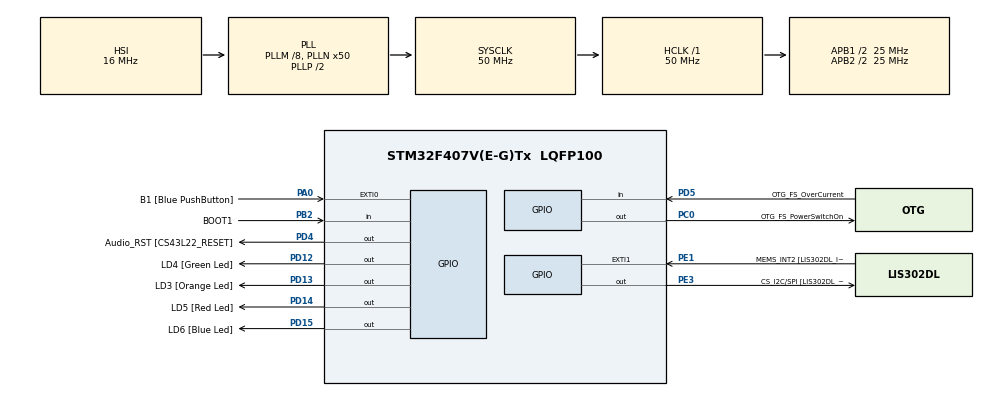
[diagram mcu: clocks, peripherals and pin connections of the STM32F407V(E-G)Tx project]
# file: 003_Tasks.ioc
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Mcu.Family=STM32F4
Mcu.Name=STM32F407V(E-G)Tx
Mcu.Package=LQFP100
NVIC.PriorityGroup=NVIC_PRIORITYGROUP_4
NVIC.TIM6_DAC_IRQn=true\:15\:0\:false\:false\:true\:false\:true\:true
NVIC.TimeBase=TIM6_DAC_IRQn
NVIC.TimeBaseIP=TIM6
PA0-WKUP.GPIO_Label=B1 [Blue PushButton]
PA0-WKUP.Signal=GPXTI0
PA10.GPIO_Label=OTG_FS_ID
PA10.GPIO_Mode=GPIO_MODE_AF_PP
PA10.GPIO_PuPd=GPIO_NOPULL
PA10.GPIO_Speed=GPIO_SPEED_FREQ_LOW
PA10.Signal=USB_OTG_FS_ID
PA11.GPIO_Label=OTG_FS_DM
PA11.GPIO_Mode=GPIO_MODE_AF_PP
PA11.GPIO_PuPd=GPIO_NOPULL
PA11.GPIO_Speed=GPIO_SPEED_FREQ_LOW
PA11.Signal=USB_OTG_FS_DM
PA12.GPIO_Label=OTG_FS_DP
PA12.GPIO_Mode=GPIO_MODE_AF_PP
PA12.GPIO_PuPd=GPIO_NOPULL
PA12.GPIO_Speed=GPIO_SPEED_FREQ_LOW
PA12.Signal=USB_OTG_FS_DP
PA13.GPIO_Label=SWDIO
PA13.Mode=Trace_Asynchronous_SW
PA13.Signal=SYS_JTMS-SWDIO
PA14.GPIO_Label=SWCLK
PA14.Mode=Trace_Asynchronous_SW
PA14.Signal=SYS_JTCK-SWCLK
PA4.GPIO_Label=I2S3_WS [CS43L22_LRCK]
PA4.GPIO_Mode=GPIO_MODE_AF_PP
PA4.GPIO_PuPd=GPIO_NOPULL
PA4.GPIO_Speed=GPIO_SPEED_FREQ_LOW
PA4.Signal=I2S3_WS
PA5.GPIO_Label=SPI1_SCK [LIS302DL_SCL/SPC]
PA5.GPIO_Mode=GPIO_MODE_AF_PP
PA5.GPIO_PuPd=GPIO_NOPULL
PA5.GPIO_Speed=GPIO_SPEED_FREQ_LOW
PA5.Signal=SPI1_SCK
PA6.GPIO_Label=SPI1_MISO [LIS302DL_SDO]
PA6.GPIO_Mode=GPIO_MODE_AF_PP
PA6.GPIO_PuPd=GPIO_NOPULL
PA6.GPIO_Speed=GPIO_SPEED_FREQ_LOW
PA6.Signal=SPI1_MISO
PA7.GPIO_Label=SPI1_MOSI [LIS302DL_SDA/SDI/SDO]
PA7.GPIO_Mode=GPIO_MODE_AF_PP
PA7.GPIO_PuPd=GPIO_NOPULL
PA7.GPIO_Speed=GPIO_SPEED_FREQ_LOW
PA7.Signal=SPI1_MOSI
PA9.GPIO_Label=VBUS_FS
PA9.GPIO_Mode=GPIO_MODE_INPUT
PA9.GPIO_PuPd=GPIO_NOPULL
PA9.Signal=USB_OTG_FS_VBUS
PB10.GPIO_Label=CLK_IN [MP45DT02_CLK]
PB10.GPIO_Mode=GPIO_MODE_AF_PP
PB10.GPIO_PuPd=GPIO_NOPULL
PB10.GPIO_Speed=GPIO_SPEED_FREQ_LOW
PB10.Signal=I2S2_CK
PB2.GPIO_Label=BOOT1
PB2.GPIO_Mode=GPIO_MODE_INPUT
PB2.GPIO_PuPd=GPIO_NOPULL
PB2.Signal=GPIO_Input
PB3.GPIO_Label=SWO
PB3.Mode=Trace_Asynchronous_SW
PB3.Signal=SYS_JTDO-SWO
PB6.GPIO_Label=Audio_SCL [CS43L22_SCL]
PB6.GPIO_Mode=GPIO_MODE_AF_OD
PB6.GPIO_PuPd=GPIO_NOPULL
PB6.GPIO_Speed=GPIO_SPEED_FREQ_LOW
PB6.Signal=I2C1_SCL
PB9.GPIO_Label=Audio_SDA [CS43L22_SDA]
PB9.GPIO_Mode=GPIO_MODE_AF_OD
PB9.GPIO_PuPd=GPIO_NOPULL
PB9.GPIO_Speed=GPIO_SPEED_FREQ_LOW
PB9.Signal=I2C1_SDA
PC0.GPIO_Label=OTG_FS_PowerSwitchOn
PC0.GPIO_PuPd=GPIO_NOPULL
PC0.GPIO_Speed=GPIO_SPEED_FREQ_LOW
PC0.PinState=GPIO_PIN_SET
PC0.Signal=GPIO_Output
PC10.GPIO_Label=I2S3_SCK [CS43L22_SCLK]
PC10.GPIO_Mode=GPIO_MODE_AF_PP
PC10.GPIO_PuPd=GPIO_NOPULL
PC10.GPIO_Speed=GPIO_SPEED_FREQ_LOW
PC10.Signal=I2S3_CK
PC12.GPIO_Label=I2S3_SD [CS43L22_SDIN]
PC12.GPIO_Mode=GPIO_MODE_AF_PP
PC12.GPIO_PuPd=GPIO_NOPULL
PC12.GPIO_Speed=GPIO_SPEED_FREQ_LOW
PC12.Signal=I2S3_SD
PC14-OSC32_IN.GPIO_Label=PC14-OSC32_IN
PC14-OSC32_IN.Signal=RCC_OSC32_IN
PC15-OSC32_OUT.GPIO_Label=PC15-OSC32_OUT
PC15-OSC32_OUT.Signal=RCC_OSC32_OUT
PC3.GPIO_Label=PDM_OUT [MP45DT02_DOUT]
PC3.GPIO_Mode=GPIO_MODE_AF_PP
PC3.GPIO_PuPd=GPIO_NOPULL
PC3.GPIO_Speed=GPIO_SPEED_FREQ_LOW
PC3.Signal=I2S2_SD
PC7.GPIO_Label=I2S3_MCK [CS43L22_MCLK]
PC7.GPIO_Mode=GPIO_MODE_AF_PP
PC7.GPIO_PuPd=GPIO_NOPULL
PC7.GPIO_Speed=GPIO_SPEED_FREQ_LOW
PC7.Signal=I2S3_MCK
PD12.GPIO_Label=LD4 [Green Led]
PD12.GPIO_PuPd=GPIO_NOPULL
PD12.GPIO_Speed=GPIO_SPEED_FREQ_LOW
PD12.Signal=GPIO_Output
PD13.GPIO_Label=LD3 [Orange Led]
PD13.GPIO_PuPd=GPIO_NOPULL
PD13.GPIO_Speed=GPIO_SPEED_FREQ_LOW
PD13.Signal=GPIO_Output
PD14.GPIO_Label=LD5 [Red Led]
PD14.GPIO_PuPd=GPIO_NOPULL
PD14.GPIO_Speed=GPIO_SPEED_FREQ_LOW
PD14.Signal=GPIO_Output
PD15.GPIO_Label=LD6 [Blue Led]
PD15.GPIO_PuPd=GPIO_NOPULL
PD15.GPIO_Speed=GPIO_SPEED_FREQ_LOW
PD15.Signal=GPIO_Output
PD4.GPIO_Label=Audio_RST [CS43L22_RESET]
PD4.GPIO_PuPd=GPIO_NOPULL
PD4.GPIO_Speed=GPIO_SPEED_FREQ_LOW
PD4.Signal=GPIO_Output
PD5.GPIO_Label=OTG_FS_OverCurrent
PD5.GPIO_Mode=GPIO_MODE_INPUT
PD5.GPIO_PuPd=GPIO_NOPULL
PD5.Signal=GPIO_Input
PE1.GPIO_Label=MEMS_INT2 [LIS302DL_INT2]
PE1.GPIO_ModeDefaultEXTI=GPIO_MODE_EVT_RISING
PE1.GPIO_PuPd=GPIO_NOPULL
PE1.Signal=GPXTI1
PE3.GPIO_Label=CS_I2C/SPI [LIS302DL_CS_I2C/SPI]
PE3.GPIO_PuPd=GPIO_NOPULL
PE3.GPIO_Speed=GPIO_SPEED_FREQ_LOW
PE3.Signal=GPIO_Output
PH0-OSC_IN.GPIO_Label=PH0-OSC_IN
PH0-OSC_IN.Signal=RCC_OSC_IN
PH1-OSC_OUT.GPIO_Label=PH1-OSC_OUT
PH1-OSC_OUT.Signal=RCC_OSC_OUT
ProjectManager.HeapSize=0x200
ProjectManager.StackSize=0x400
ProjectManager.TargetToolchain=STM32CubeIDE
RCC.48MHZClocksFreq_Value=14285714.285714285
RCC.AHBFreq_Value=50000000
RCC.APB1CLKDivider=RCC_HCLK_DIV2
RCC.APB1Freq_Value=25000000
RCC.APB1TimFreq_Value=50000000
RCC.APB2CLKDivider=RCC_HCLK_DIV2
RCC.APB2Freq_Value=25000000
RCC.APB2TimFreq_Value=50000000
RCC.CortexFreq_Value=6250000
RCC.Cortex_Div=SYSTICK_CLKSOURCE_HCLK_DIV8
RCC.HCLKFreq_Value=50000000
RCC.HSE_VALUE=8000000
RCC.HSI_VALUE=16000000
RCC.LSE_VALUE=32768
RCC.PLLM=8
RCC.PLLN=50
RCC.PLLQ=7
RCC.SYSCLKFreq_VALUE=50000000
RCC.SYSCLKSource=RCC_SYSCLKSOURCE_PLLCLK
RCC.VCOOutputFreq_Value=100000000
VP_SYS_VS_tim6.Mode=TIM6
board=STM32F407G-DISC1

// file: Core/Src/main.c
/* USER CODE BEGIN Header */
/**
  ******************************************************************************
  * @file           : main.c
  * @brief          : Main program body
  ******************************************************************************
  * @attention
  *
  * Copyright (c) 2024 STMicroelectronics.
  * All rights reserved.
  *
  * This software is licensed under terms that can be found in the LICENSE file
  * in the root directory of this software component.
  * If no LICENSE file comes with this software, it is provided AS-IS.
  *
  ******************************************************************************
  */
/* USER CODE END Header */
#include "main.h"

/* USER CODE BEGIN Includes */
#include <stdio.h>
#include "FreeRTOS.h"
#include "task.h"

/* USER CODE END Includes */

/* USER CODE BEGIN PD */
#define DWT_CTRL (*(volatile uint32_t *) 0xE0001000)
/* USER CODE END PD */

/* USER CODE BEGIN PV */
TaskHandle_t task1_handle;
TaskHandle_t task2_handle;
TaskHandle_t task3_handle;

BaseType_t status;
/* USER CODE END PV */

void SystemClock_Config(void);
static void MX_GPIO_Init(void);
/* USER CODE BEGIN PFP */
static void Task1_Handler(void*);
static void Task2_Handler(void*);
static void Task3_Handler(void*);

/* USER CODE END PFP */

int main(void)
{

  /* MCU Configuration--------------------------------------------------------*/

  /* Reset of all peripherals, Initializes the Flash interface and the Systick. */
  HAL_Init();

  /* Configure the system clock */
  SystemClock_Config();

  /* Initialize all configured peripherals */
  MX_GPIO_Init();
  /* USER CODE BEGIN 2 */

  //enable the cycle counter (CYCCNT register)
  DWT_CTRL |= (1<<0);

SEGGER_SYSVIEW_Conf();
SEGGER_SYSVIEW_Start();

status = xTaskCreate(Task1_Handler, "Task_1_orange", 200, NULL, 2, &task1_handle);
configASSERT(status == pdPASS);

status = xTaskCreate(Task2_Handler, "Task_2_green", 200,  NULL, 2, &task2_handle);
configASSERT(status == pdPASS);

status = xTaskCreate(Task3_Handler, "Task_3_red", 200, NULL, 2, &task3_handle);
configASSERT(status == pdPASS);

vTaskStartScheduler(); //if the scheduler fails, this function will return.
  /* USER CODE END 2 */

  /* Infinite loop */
  while (1)
  {

  }
}

void SystemClock_Config(void)
{
  RCC_OscInitTypeDef RCC_OscInitStruct = {0};
  RCC_ClkInitTypeDef RCC_ClkInitStruct = {0};

  /** Configure the main internal regulator output voltage
  */
  __HAL_RCC_PWR_CLK_ENABLE();
  __HAL_PWR_VOLTAGESCALING_CONFIG(PWR_REGULATOR_VOLTAGE_SCALE1);

  /** Initializes the RCC Oscillators according to the specified parameters
  * in the RCC_OscInitTypeDef structure.
  */
  RCC_OscInitStruct.OscillatorType = RCC_OSCILLATORTYPE_HSI;
  RCC_OscInitStruct.HSIState = RCC_HSI_ON;
  RCC_OscInitStruct.HSICalibrationValue = RCC_HSICALIBRATION_DEFAULT;
  RCC_OscInitStruct.PLL.PLLState = RCC_PLL_ON;
  RCC_OscInitStruct.PLL.PLLSource = RCC_PLLSOURCE_HSI;
  RCC_OscInitStruct.PLL.PLLM = 8;
  RCC_OscInitStruct.PLL.PLLN = 50;
  RCC_OscInitStruct.PLL.PLLP = RCC_PLLP_DIV2;
  RCC_OscInitStruct.PLL.PLLQ = 7;
  if (HAL_RCC_OscConfig(&RCC_OscInitStruct) != HAL_OK)
  {
    Error_Handler();
  }

  /** Initializes the CPU, AHB and APB buses clocks
  */
  RCC_ClkInitStruct.ClockType = RCC_CLOCKTYPE_HCLK|RCC_CLOCKTYPE_SYSCLK
                              |RCC_CLOCKTYPE_PCLK1|RCC_CLOCKTYPE_PCLK2;
  RCC_ClkInitStruct.SYSCLKSource = RCC_SYSCLKSOURCE_PLLCLK;
  RCC_ClkInitStruct.AHBCLKDivider = RCC_SYSCLK_DIV1;
  RCC_ClkInitStruct.APB1CLKDivider = RCC_HCLK_DIV2;
  RCC_ClkInitStruct.APB2CLKDivider = RCC_HCLK_DIV2;

  if (HAL_RCC_ClockConfig(&RCC_ClkInitStruct, FLASH_LATENCY_1) != HAL_OK)
  {
    Error_Handler();
  }
}

static void MX_GPIO_Init(void)
{
  GPIO_InitTypeDef GPIO_InitStruct = {0};

  /* GPIO Ports Clock Enable */
  __HAL_RCC_GPIOE_CLK_ENABLE();
  __HAL_RCC_GPIOC_CLK_ENABLE();
  __HAL_RCC_GPIOH_CLK_ENABLE();
  __HAL_RCC_GPIOA_CLK_ENABLE();
  __HAL_RCC_GPIOB_CLK_ENABLE();
  __HAL_RCC_GPIOD_CLK_ENABLE();

  /*Configure GPIO pin Output Level */
  HAL_GPIO_WritePin(CS_I2C_SPI_GPIO_Port, CS_I2C_SPI_Pin, GPIO_PIN_RESET);

  /*Configure GPIO pin Output Level */
  HAL_GPIO_WritePin(OTG_FS_PowerSwitchOn_GPIO_Port, OTG_FS_PowerSwitchOn_Pin, GPIO_PIN_SET);

  /*Configure GPIO pin Output Level */
  HAL_GPIO_WritePin(GPIOD, LD4_Pin|LD3_Pin|LD5_Pin|LD6_Pin
                          |Audio_RST_Pin, GPIO_PIN_RESET);

  /*Configure GPIO pin : CS_I2C_SPI_Pin */
  GPIO_InitStruct.Pin = CS_I2C_SPI_Pin;
  GPIO_InitStruct.Mode = GPIO_MODE_OUTPUT_PP;
  GPIO_InitStruct.Pull = GPIO_NOPULL;
  GPIO_InitStruct.Speed = GPIO_SPEED_FREQ_LOW;
  HAL_GPIO_Init(CS_I2C_SPI_GPIO_Port, &GPIO_InitStruct);

  /*Configure GPIO pin : OTG_FS_PowerSwitchOn_Pin */
  GPIO_InitStruct.Pin = OTG_FS_PowerSwitchOn_Pin;
  GPIO_InitStruct.Mode = GPIO_MODE_OUTPUT_PP;
  GPIO_InitStruct.Pull = GPIO_NOPULL;
  GPIO_InitStruct.Speed = GPIO_SPEED_FREQ_LOW;
  HAL_GPIO_Init(OTG_FS_PowerSwitchOn_GPIO_Port, &GPIO_InitStruct);

  /*Configure GPIO pin : PDM_OUT_Pin */
  GPIO_InitStruct.Pin = PDM_OUT_Pin;
  GPIO_InitStruct.Mode = GPIO_MODE_AF_PP;
  GPIO_InitStruct.Pull = GPIO_NOPULL;
  GPIO_InitStruct.Speed = GPIO_SPEED_FREQ_LOW;
  GPIO_InitStruct.Alternate = GPIO_AF5_SPI2;
  HAL_GPIO_Init(PDM_OUT_GPIO_Port, &GPIO_InitStruct);

  /*Configure GPIO pin : B1_Pin */
  GPIO_InitStruct.Pin = B1_Pin;
  GPIO_InitStruct.Mode = GPIO_MODE_IT_RISING;
  GPIO_InitStruct.Pull = GPIO_NOPULL;
  HAL_GPIO_Init(B1_GPIO_Port, &GPIO_InitStruct);

  /*Configure GPIO pin : I2S3_WS_Pin */
  GPIO_InitStruct.Pin = I2S3_WS_Pin;
  GPIO_InitStruct.Mode = GPIO_MODE_AF_PP;
  GPIO_InitStruct.Pull = GPIO_NOPULL;
  GPIO_InitStruct.Speed = GPIO_SPEED_FREQ_LOW;
  GPIO_InitStruct.Alternate = GPIO_AF6_SPI3;
  HAL_GPIO_Init(I2S3_WS_GPIO_Port, &GPIO_InitStruct);

  /*Configure GPIO pins : SPI1_SCK_Pin SPI1_MISO_Pin SPI1_MOSI_Pin */
  GPIO_InitStruct.Pin = SPI1_SCK_Pin|SPI1_MISO_Pin|SPI1_MOSI_Pin;
  GPIO_InitStruct.Mode = GPIO_MODE_AF_PP;
  GPIO_InitStruct.Pull = GPIO_NOPULL;
  GPIO_InitStruct.Speed = GPIO_SPEED_FREQ_LOW;
  GPIO_InitStruct.Alternate = GPIO_AF5_SPI1;
  HAL_GPIO_Init(GPIOA, &GPIO_InitStruct);

  /*Configure GPIO pin : BOOT1_Pin */
  GPIO_InitStruct.Pin = BOOT1_Pin;
  GPIO_InitStruct.Mode = GPIO_MODE_INPUT;
  GPIO_InitStruct.Pull = GPIO_NOPULL;
  HAL_GPIO_Init(BOOT1_GPIO_Port, &GPIO_InitStruct);

  /*Configure GPIO pin : CLK_IN_Pin */
  GPIO_InitStruct.Pin = CLK_IN_Pin;
  GPIO_InitStruct.Mode = GPIO_MODE_AF_PP;
  GPIO_InitStruct.Pull = GPIO_NOPULL;
  GPIO_InitStruct.Speed = GPIO_SPEED_FREQ_LOW;
  GPIO_InitStruct.Alternate = GPIO_AF5_SPI2;
  HAL_GPIO_Init(CLK_IN_GPIO_Port, &GPIO_InitStruct);

  /*Configure GPIO pins : LD4_Pin LD3_Pin LD5_Pin LD6_Pin
                           Audio_RST_Pin */
  GPIO_InitStruct.Pin = LD4_Pin|LD3_Pin|LD5_Pin|LD6_Pin
                          |Audio_RST_Pin;
  GPIO_InitStruct.Mode = GPIO_MODE_OUTPUT_PP;
  GPIO_InitStruct.Pull = GPIO_NOPULL;
  GPIO_InitStruct.Speed = GPIO_SPEED_FREQ_LOW;
  HAL_GPIO_Init(GPIOD, &GPIO_InitStruct);

  /*Configure GPIO pins : I2S3_MCK_Pin I2S3_SCK_Pin I2S3_SD_Pin */
  GPIO_InitStruct.Pin = I2S3_MCK_Pin|I2S3_SCK_Pin|I2S3_SD_Pin;
  GPIO_InitStruct.Mode = GPIO_MODE_AF_PP;
  GPIO_InitStruct.Pull = GPIO_NOPULL;
  GPIO_InitStruct.Speed = GPIO_SPEED_FREQ_LOW;
  GPIO_InitStruct.Alternate = GPIO_AF6_SPI3;
  HAL_GPIO_Init(GPIOC, &GPIO_InitStruct);

  /*Configure GPIO pin : VBUS_FS_Pin */
  GPIO_InitStruct.Pin = VBUS_FS_Pin;
  GPIO_InitStruct.Mode = GPIO_MODE_INPUT;
  GPIO_InitStruct.Pull = GPIO_NOPULL;
  HAL_GPIO_Init(VBUS_FS_GPIO_Port, &GPIO_InitStruct);

  /*Configure GPIO pins : OTG_FS_ID_Pin OTG_FS_DM_Pin OTG_FS_DP_Pin */
  GPIO_InitStruct.Pin = OTG_FS_ID_Pin|OTG_FS_DM_Pin|OTG_FS_DP_Pin;
  GPIO_InitStruct.Mode = GPIO_MODE_AF_PP;
  GPIO_InitStruct.Pull = GPIO_NOPULL;
  GPIO_InitStruct.Speed = GPIO_SPEED_FREQ_LOW;
  GPIO_InitStruct.Alternate = GPIO_AF10_OTG_FS;
  HAL_GPIO_Init(GPIOA, &GPIO_InitStruct);

  /*Configure GPIO pin : OTG_FS_OverCurrent_Pin */
  GPIO_InitStruct.Pin = OTG_FS_OverCurrent_Pin;
  GPIO_InitStruct.Mode = GPIO_MODE_INPUT;
  GPIO_InitStruct.Pull = GPIO_NOPULL;
  HAL_GPIO_Init(OTG_FS_OverCurrent_GPIO_Port, &GPIO_InitStruct);

  /*Configure GPIO pins : Audio_SCL_Pin Audio_SDA_Pin */
  GPIO_InitStruct.Pin = Audio_SCL_Pin|Audio_SDA_Pin;
  GPIO_InitStruct.Mode = GPIO_MODE_AF_OD;
  GPIO_InitStruct.Pull = GPIO_NOPULL;
  GPIO_InitStruct.Speed = GPIO_SPEED_FREQ_LOW;
  GPIO_InitStruct.Alternate = GPIO_AF4_I2C1;
  HAL_GPIO_Init(GPIOB, &GPIO_InitStruct);

  /*Configure GPIO pin : MEMS_INT2_Pin */
  GPIO_InitStruct.Pin = MEMS_INT2_Pin;
  GPIO_InitStruct.Mode = GPIO_MODE_EVT_RISING;
  GPIO_InitStruct.Pull = GPIO_NOPULL;
  HAL_GPIO_Init(MEMS_INT2_GPIO_Port, &GPIO_InitStruct);

}

/* USER CODE BEGIN 4 */
static void Task1_Handler(void* parameters){

	TickType_t last_wakeup;

	last_wakeup = xTaskGetTickCount();

	while(1){
	  HAL_GPIO_TogglePin(GPIOD, LD4_Pin);
	  //vTaskDelay(pdMS_TO_TICKS(1000)); //This is a non-blocking delay
	  vTaskDelayUntil(&last_wakeup, pdMS_TO_TICKS(1000));
	}

}

static void Task2_Handler(void* parameters)
{
	while(1){
		  HAL_GPIO_TogglePin(GPIOD, LD3_Pin);
		  vTaskDelay(pdMS_TO_TICKS(800)); //This is a non-blocking delay

	}

}

static void Task3_Handler(void* parameters)
{
	while(1){
		  HAL_GPIO_TogglePin(GPIOD, LD5_Pin);
		  vTaskDelay(pdMS_TO_TICKS(400)); //This is a non-blocking delay
	}

}

/*
int _write(int le, char *ptr, int len)

{

int DataIdx;

for(DataIdx = 0; DataIdx < len; DataIdx++)

{

ITM_SendChar(*ptr++);

}

return len;

}
*/

/* USER CODE END 4 */

void HAL_TIM_PeriodElapsedCallback(TIM_HandleTypeDef *htim)
{
  if (htim->Instance == TIM6) {
    HAL_IncTick();
  }
}

void Error_Handler(void)
{
  __disable_irq();
  while (1)
  {
  }
}
